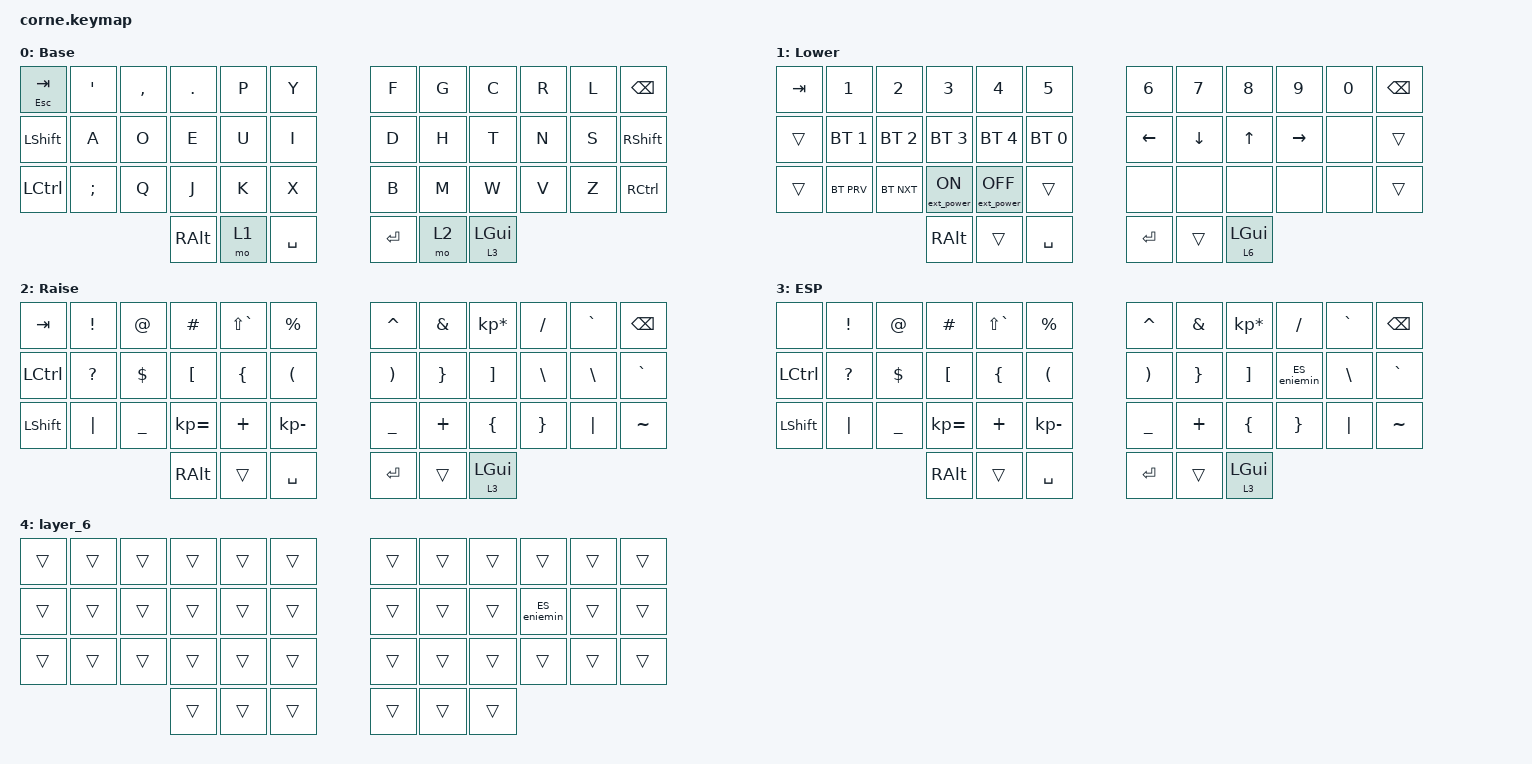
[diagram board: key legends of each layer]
/*
 * Copyright (c) 2020 The ZMK Contributors
 *
 * SPDX-License-Identifier: MIT
 */

#include <behaviors.dtsi>
#include <dt-bindings/zmk/bt.h>
#include <dt-bindings/zmk/ext_power.h>
#include <dt-bindings/zmk/keys.h>

/ {
    behaviors {
        ES_eniemin: ES_eniemin {
            compatible = "zmk,behavior-tap-dance";
            label = "ES_ENIEMIN";
            #binding-cells = <0>;
            bindings = <&kp RIGHT_ALT>, <&kp N>, <&kp TILDE>;
        };
    };

    combos { compatible = "zmk,combos"; };

    keymap {
        compatible = "zmk,keymap";

        default_layer {
            // -----------------------------------------------------------------------------------------
            // |  TAB |  Q  |  W  |  E  |  R  |  T  |   |  Y  |  U   |  I  |  O  |  P  | BKSP |
            // | CTRL |  A  |  S  |  D  |  F  |  G  |   |  H  |  J   |  K  |  L  |  ;  |  '   |
            // | SHFT |  Z  |  X  |  C  |  V  |  B  |   |  N  |  M   |  ,  |  .  |  /  | ESC  |
            //                    | GUI | LWR | SPC |   | ENT | RSE  | ALT |

            display-name = "Base";
            bindings = <
&mt ESCAPE TAB    &kp APOS       &kp COMMA  &kp PERIOD     &kp P  &kp Y        &kp F    &kp G  &kp C           &kp R  &kp L  &kp BSPC
&kp LEFT_SHIFT    &kp A          &kp O      &kp E          &kp U  &kp I        &kp D    &kp H  &kp T           &kp N  &kp S  &kp RIGHT_SHIFT
&kp LEFT_CONTROL  &kp SEMICOLON  &kp Q      &kp J          &kp K  &kp X        &kp B    &kp M  &kp W           &kp V  &kp Z  &kp RIGHT_CONTROL
                                            &kp RIGHT_ALT  &mo 1  &kp SPACE    &kp RET  &mo 2  &lt 3 LEFT_GUI
            >;
        };

        lower_layer {
            // -----------------------------------------------------------------------------------------
            // |  TAB |  1  |  2  |  3  |  4  |  5  |   |  6  |  7  |  8  |  9  |  0  | BKSP |
            // | BTCLR| BT1 | BT2 | BT3 | BT4 | BT5 |   | LFT | DWN |  UP | RGT |     |      |
            // | SHFT |     |     |     |     |     |   |     |     |     |     |     |      |
            //                    | GUI |     | SPC |   | ENT |     | ALT |

            display-name = "Lower";
            bindings = <
&kp TAB  &kp N1        &kp N2        &kp N3            &kp N4             &kp N5          &kp N6    &kp N7    &kp N8          &kp N9     &kp N0  &kp BSPC
&trans   &bt BT_SEL 1  &bt BT_SEL 2  &bt BT_SEL 3      &bt BT_SEL 4       &bt BT_SEL 0    &kp LEFT  &kp DOWN  &kp UP          &kp RIGHT  &none   &trans
&trans   &bt BT_PRV    &bt BT_NXT    &ext_power EP_ON  &ext_power EP_OFF  &trans          &none     &none     &none           &none      &none   &trans
                                     &kp RIGHT_ALT     &trans             &kp SPACE       &kp RET   &trans    &lt 6 LEFT_GUI
            >;
        };

        raise_layer {
            // -----------------------------------------------------------------------------------------
            // |  TAB |  !  |  @  |  #  |  $  |  %  |   |  ^  |  &  |  *  |  (  |  )  | BKSP |
            // | CTRL |     |     |     |     |     |   |  -  |  =  |  [  |  ]  |  \  |  `   |
            // | SHFT |     |     |     |     |     |   |  _  |  +  |  {  |  }  | "|" |  ~   |
            //                    | GUI |     | SPC |   | ENT |     | ALT |

            display-name = "Raise";
            bindings = <
&kp TAB    &kp EXCL      &kp AT      &kp HASH          &kp LS(GRAVE)   &kp PRCNT               &kp CARET              &kp AMPS         &kp KP_MULTIPLY    &kp SLASH      &kp GRAVE  &kp BSPC
&kp LCTRL  &kp QUESTION  &kp DOLLAR  &kp LEFT_BRACKET  &kp LEFT_BRACE  &kp LEFT_PARENTHESIS    &kp RIGHT_PARENTHESIS  &kp RIGHT_BRACE  &kp RIGHT_BRACKET  &kp BACKSLASH  &kp BSLH   &kp GRAVE
&kp LSHFT  &kp PIPE      &kp UNDER   &kp KP_EQUAL      &kp PLUS        &kp KP_MINUS            &kp UNDER              &kp PLUS         &kp LBRC           &kp RBRC       &kp PIPE   &kp TILDE
                                     &kp RIGHT_ALT     &trans          &kp SPACE               &kp RET                &trans           &lt 3 LEFT_GUI
            >;
        };

        esp_layer {
            display-name = "ESP";
            bindings = <
&none      &kp EXCL      &kp AT      &kp HASH          &kp LS(GRAVE)   &kp PRCNT               &kp CARET              &kp AMPS         &kp KP_MULTIPLY    &kp SLASH    &kp GRAVE  &kp BSPC
&kp LCTRL  &kp QUESTION  &kp DOLLAR  &kp LEFT_BRACKET  &kp LEFT_BRACE  &kp LEFT_PARENTHESIS    &kp RIGHT_PARENTHESIS  &kp RIGHT_BRACE  &kp RIGHT_BRACKET  &ES_eniemin  &kp BSLH   &kp GRAVE
&kp LSHFT  &kp PIPE      &kp UNDER   &kp KP_EQUAL      &kp PLUS        &kp KP_MINUS            &kp UNDER              &kp PLUS         &kp LBRC           &kp RBRC     &kp PIPE   &kp TILDE
                                     &kp RIGHT_ALT     &trans          &kp SPACE               &kp RET                &trans           &lt 3 LEFT_GUI
            >;

            label = "3";
        };

        extra_2 { status = "reserved"; };

        extra_3 { status = "reserved"; };

        layer_6 {
            bindings = <
&trans  &trans  &trans  &trans  &trans  &trans    &trans  &trans  &trans  &trans       &trans  &trans
&trans  &trans  &trans  &trans  &trans  &trans    &trans  &trans  &trans  &ES_eniemin  &trans  &trans
&trans  &trans  &trans  &trans  &trans  &trans    &trans  &trans  &trans  &trans       &trans  &trans
                        &trans  &trans  &trans    &trans  &trans  &trans
            >;
        };
    };

    conditional_layers { compatible = "zmk,conditional-layers"; };
};
